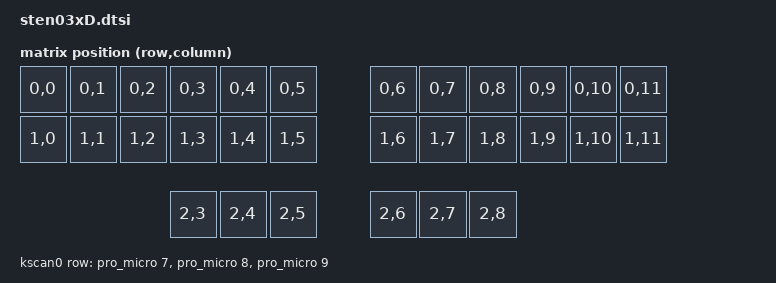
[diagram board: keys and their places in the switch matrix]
#include <dt-bindings/zmk/matrix_transform.h> // Put this with the other includes at the top of your dtsi
#include <physical_layouts.dtsi>

/ {
    kscan0: kscan0 {
        compatible = "zmk,kscan-gpio-matrix";
        diode-direction = "col2row";
        wakeup-source;

        row-gpios
            = <&pro_micro 7 (GPIO_ACTIVE_HIGH | GPIO_PULL_DOWN)>
            , <&pro_micro 8 (GPIO_ACTIVE_HIGH | GPIO_PULL_DOWN)>
            , <&pro_micro 9 (GPIO_ACTIVE_HIGH | GPIO_PULL_DOWN)>
            ;

    };
};

/ {
    default_transform: keymap_transform0 {
        compatible = "zmk,matrix-transform";
        columns = <12>;
        rows = <3>;
        map = <
            RC(0,0) RC(0,1) RC(0,2) RC(0,3) RC(0,4) RC(0,5)     RC(0,6) RC(0,7) RC(0,8) RC(0,9) RC(0,10) RC(0,11)
            RC(1,0) RC(1,1) RC(1,2) RC(1,3) RC(1,4) RC(1,5)     RC(1,6) RC(1,7) RC(1,8) RC(1,9) RC(1,10) RC(1,11)
                                                     RC(2,3) RC(2,4) RC(2,5)     RC(2,6) RC(2,7) RC(2,8)
        >;
    };
};

/ {
    physical_layout0: physical_layout_0 { 
    // First physical layout, use different naming for other layouts
        compatible = "zmk,physical-layout";
        display-name = "Sten03xD";
        kscan = <&kscan0>; // Label of the kscan node, optional if all layouts use the same
        transform = <&default_transform>; // Label of the matrix transform for this layout
        keys  //                                  w     h        x       y     rot    rx    ry
            = <&key_physical_attrs 100  100    0         0       0     0     0>
            , <&key_physical_attrs   100  100  100      0       0     0     0>
            , <&key_physical_attrs   100  100  200      0       0     0     0>
            , <&key_physical_attrs   100  100  300      0       0     0     0>
            , <&key_physical_attrs   100  100  400      0       0     0     0>
            , <&key_physical_attrs   100  100  500      0       0     0     0>
            , <&key_physical_attrs   100  100  700      0       0     0     0>
            , <&key_physical_attrs   100  100  800      0       0     0     0>
            , <&key_physical_attrs   100  100  900      0       0     0     0>
            , <&key_physical_attrs   100  100  1000    0       0     0     0>
            , <&key_physical_attrs   100  100  1100    0       0     0     0>
            , <&key_physical_attrs   100  100  1200    0       0     0     0>
            , <&key_physical_attrs   100  100   0         100       0     0     0>
            , <&key_physical_attrs   100  100  100      100       0     0     0>
            , <&key_physical_attrs   100  100  200      100       0     0     0>
            , <&key_physical_attrs   100  100  300      100       0     0     0>
            , <&key_physical_attrs   100  100  400      100       0     0     0>
            , <&key_physical_attrs   100  100  500      100       0     0     0>
            , <&key_physical_attrs   100  100  700      100       0     0     0>
            , <&key_physical_attrs   100  100  800      100       0     0     0>
            , <&key_physical_attrs   100  100  900      100       0     0     0>
            , <&key_physical_attrs   100  100  1000    100       0     0     0>
            , <&key_physical_attrs   100  100  1100    100       0     0     0>
            , <&key_physical_attrs   100  100  1200    100       0     0     0>
            , <&key_physical_attrs   100  100  300      250       0     0     0>
            , <&key_physical_attrs   100  100  400      250       0     0     0>
            , <&key_physical_attrs   100  100  500      250       0     0     0>
            , <&key_physical_attrs   100  100  700      250       0     0     0>
            , <&key_physical_attrs   100  100  800      250       0     0     0>
            , <&key_physical_attrs   100  100  900      250       0     0     0>
            ;
    };
};

/ {
    chosen {
        zmk,physical-layout = &physical_layout0;
        // Other chosen items
    };
};
